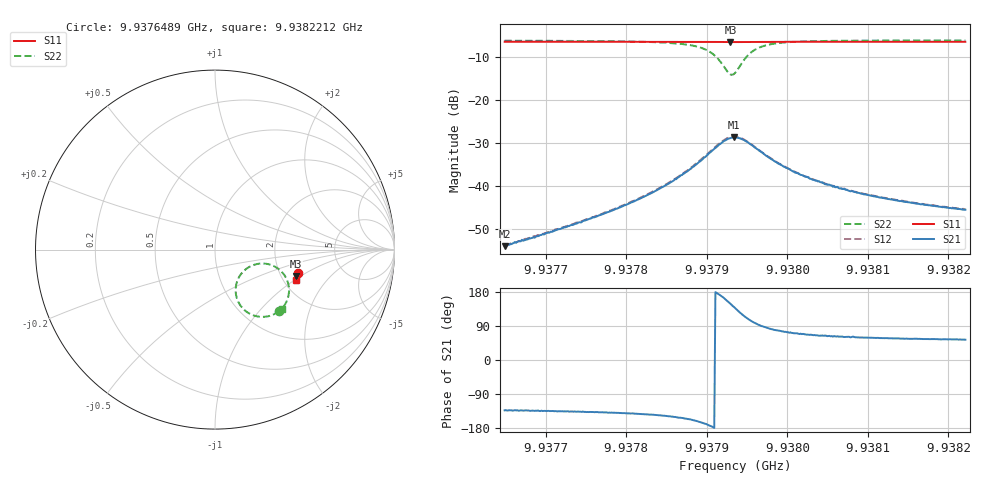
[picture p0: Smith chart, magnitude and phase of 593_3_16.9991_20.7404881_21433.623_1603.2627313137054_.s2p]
#  HZ  S  RI  R  50.00
! Rohde & Schwarz Vector Network Analyzer
! Rohde-Schwarz,ZNB20-2Port,1311601062101988,3.16
! Created: UTC 3/20/2024, 11:18:43 PM
! freq[Hz]  re:S11  im:S11  re:S21  im:S21  re:S12  im:S12  re:S22  im:S22
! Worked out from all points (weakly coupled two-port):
!   401 points, 9.9376489 GHz to 9.9382212 GHz, reference 50 ohm
!   highest |S21| = -28.57 dB at 9.9379336 GHz (marker M1); lowest = -53.9 dB at 9.9376489 GHz (marker M2)
!   lowest |S11| = -6.4 dB at 9.9379294 GHz (marker M3), VSWR 2.82, Z = 120 - j46 ohm
!   |S11| at or under -10 dB: nowhere
!   |S22| runs from -14.0 to -6.1 dB; largest |S21 - S12| = 0.0018
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9.93764894e9  0.464 -0.1313  -0.00137 -0.00148  -0.00142 -0.0015  0.3571 -0.3423
9.93774479e9  0.4614 -0.1378  -0.00282 -0.00263  -0.0029 -0.00267  0.3395 -0.3541
9.93780202e9  0.4599 -0.1417  -0.00484 -0.00393  -0.00498 -0.00395  0.319 -0.3642
9.93784065e9  0.4586 -0.1445  -0.00773 -0.00523  -0.00794 -0.00522  0.2921 -0.3723
9.93787499e9  0.4572 -0.1469  -0.0134 -0.00624  -0.0138 -0.006  0.2433 -0.3735
9.93789788e9  0.4557 -0.1483  -0.0215 -0.00447  -0.0221 -0.00412  0.1797 -0.349
9.93791075e9  0.4544 -0.1487  -0.028 0.000472  -0.0289 0.00129  0.1338 -0.2986
9.93792077e9  0.4534 -0.1485  -0.0323 0.00884  -0.0326 0.0103  0.1148 -0.224
9.93792649e9  0.4532 -0.1481  -0.0322 0.0156  -0.0323 0.0173  0.1256 -0.1708
9.93792935e9  0.4529 -0.1476  -0.0311 0.019  -0.0313 0.0208  0.1389 -0.1448
9.93793364e9  0.4533 -0.1474  -0.0287 0.0238  -0.0281 0.0254  0.1691 -0.1115
9.93793508e9  0.4533 -0.1474  -0.0274 0.0253  -0.0269 0.0268  0.181 -0.1027
9.93794366e9  0.4539 -0.147  -0.0181 0.0305  -0.0172 0.0316  0.2614 -0.0774
9.93795224e9  0.4548 -0.1473  -0.00929 0.0305  -0.00826 0.031  0.3297 -0.0928
9.9379594e9  0.4553 -0.1479  -0.00411 0.0282  -0.00322 0.0286  0.3668 -0.1191
9.93796655e9  0.4557 -0.1487  -0.000342 0.0255  0.000105 0.0258  0.3895 -0.1468
9.93797943e9  0.4558 -0.1499  0.00293 0.0208  0.0035 0.021  0.408 -0.189
9.93799516e9  0.4557 -0.1515  0.00434 0.0165  0.00477 0.0166  0.4125 -0.2255
9.93803093e9  0.4549 -0.1543  0.00486 0.011  0.00512 0.0111  0.4059 -0.2706
9.93807528e9  0.4538 -0.1576  0.00433 0.0079  0.0046 0.00783  0.3952 -0.2967
9.93812679e9  0.4524 -0.1612  0.00385 0.006  0.00398 0.006  0.3855 -0.313
9.93822122e9  0.4498 -0.1675  0.00318 0.00432  0.00328 0.00431  0.3731 -0.3293
